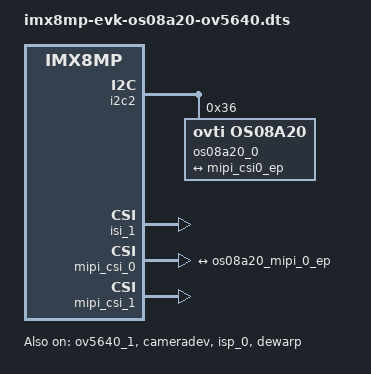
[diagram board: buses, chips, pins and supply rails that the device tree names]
// SPDX-License-Identifier: (GPL-2.0+ OR MIT)
/*
 * Copyright 2022 NXP
 *
 * This program is free software; you can redistribute it and/or
 * modify it under the terms of the GNU General Public License
 * as published by the Free Software Foundation; either version 2
 * of the License, or (at your option) any later version.
 *
 * This program is distributed in the hope that it will be useful,
 * but WITHOUT ANY WARRANTY; without even the implied warranty of
 * MERCHANTABILITY or FITNESS FOR A PARTICULAR PURPOSE.  See the
 * GNU General Public License for more details.
 */

#include "imx8mp-evk.dts"

&iomuxc {
	pinctrl_csi1_pwn: csi1_pwn_grp {
		fsl,pins = <
			MX8MP_IOMUXC_SAI1_RXC__GPIO4_IO01	0x10
		>;
	};

	pinctrl_csi1_rst: csi1_rst_grp {
		fsl,pins = <
			MX8MP_IOMUXC_SAI1_RXFS__GPIO4_IO00	0x10
		>;
	};
};

&ov5640_0 {
	status = "disabled";
};

&ov5640_1 {
	pinctrl-0 = <&pinctrl_csi_mclk>;
	powerdown-gpios = <&gpio2 11 GPIO_ACTIVE_HIGH>;
	reset-gpios = <&gpio1 6 GPIO_ACTIVE_LOW>;
	csi_id = <1>;

	status = "okay";
};

&i2c2 {
	/delete-node/ov5640_mipi@3c;

	os08a20_0: os08a20_mipi@36 {
		compatible = "ovti,os08a20";
		reg = <0x36>;
		pinctrl-names = "default";
		clocks = <&clk_dummy>;
		clock-names = "csi_mclk";
		csi_id = <0>;
		mclk = <24000000>;
		mclk_source = <0>;
		status = "okay";

		port {
			os08a20_mipi_0_ep: endpoint {
				data-lanes = <1 2 3 4>;
				clock-lanes = <0>;
				max-pixel-frequency = /bits/ 64 <266000000>;
				remote-endpoint = <&mipi_csi0_ep>;
			};
		};

	};
};

&cameradev {
	status = "okay";
};

&isi_0 {
	status = "disabled";
};

&isi_1 {
	status = "okay";
};

&isp_0 {
	status = "okay";
};

&dewarp {
	status = "okay";
};

&mipi_csi_0 {
	status = "okay";

	port@0 {
		endpoint {
			remote-endpoint = <&os08a20_mipi_0_ep>;
			data-lanes = <4>;
			csis-hs-settle = <16>;
		};
	};
};

&mipi_csi_1 {
	status = "okay";
};
